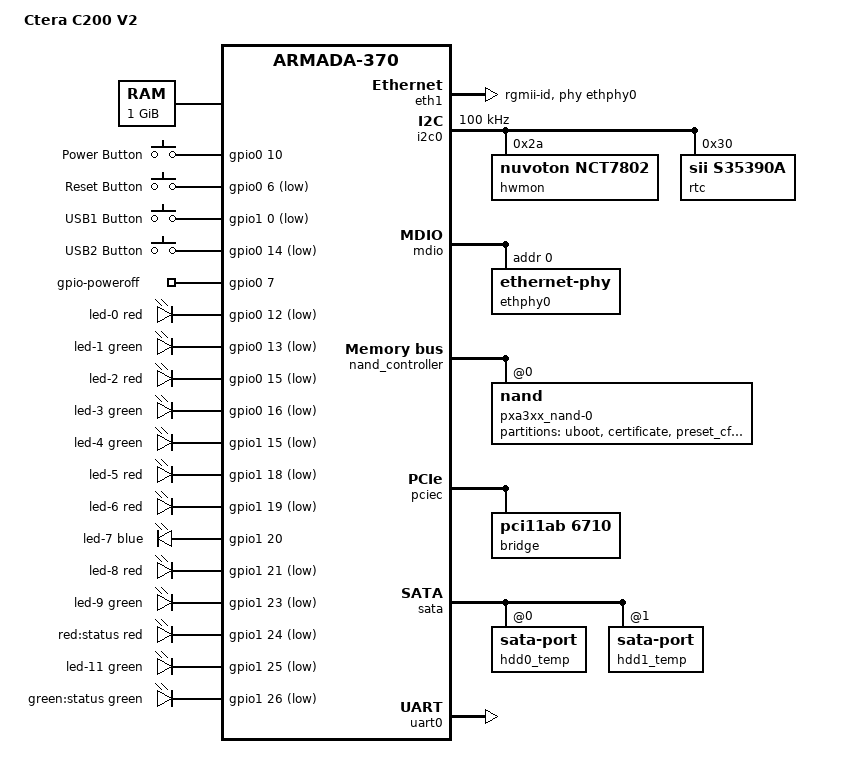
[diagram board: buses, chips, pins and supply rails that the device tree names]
// SPDX-License-Identifier: (GPL-2.0-or-later OR MIT)
/*
 * Device Tree file for Ctera C200-V2
 *
 * Copyright (C) 2021 Pawel Dembicki <paweldembicki@gmail.com>
 */

/dts-v1/;

#include "armada-370.dtsi"
#include <dt-bindings/gpio/gpio.h>
#include <dt-bindings/input/input.h>
#include <dt-bindings/thermal/thermal.h>
#include <dt-bindings/leds/common.h>

/ {
	model = "Ctera C200 V2";
	compatible = "ctera,c200-v2", "marvell,armada370", "marvell,armada-370-xp";

	aliases {
		led-boot = &led_status_green;
		led-failsafe = &led_status_red;
		led-running = &led_status_green;
		led-upgrade = &led_status_red;
	};

	chosen {
		bootargs = "console=ttyS0,115200";
		stdout-path = "serial0:115200n8";
	};

	memory {
		device_type = "memory";
		reg = <0x00000000 0x40000000>; /* 1024 MB */
	};

	soc {
		ranges = <MBUS_ID(0xf0, 0x01) 0 0xd0000000 0x100000
			  MBUS_ID(0x01, 0xe0) 0 0xfff00000 0x100000
			  MBUS_ID(0x09, 0x01) 0 0xf1100000 0x10000>;
	};

	thermal-zones {
		ethphy-thermal {
			polling-delay = <20000>;
			polling-delay-passive = <2000>;

			thermal-sensors = <&ethphy0>;

			trips {
				ethphy_alert1: trip1 {
					temperature = <65000>;
					hysteresis = <4000>;
					type = "passive";
				};

				ethphy_crit: trip2 {
					temperature = <100000>;
					hysteresis = <2000>;
					type = "critical";
				};
			};
		};
	};

	keys {
		compatible = "gpio-keys";
		pinctrl-0 = <&pmx_buttons>;
		pinctrl-names = "default";

		power {
			label = "Power Button";
			linux,code = <KEY_POWER>;
			gpios = <&gpio0 10 GPIO_ACTIVE_HIGH>;
		};

		reset {
			label = "Reset Button";
			linux,code = <KEY_RESTART>;
			gpios = <&gpio0 6 GPIO_ACTIVE_LOW>;
		};

		usb1 {
			label = "USB1 Button";
			linux,code = <BTN_0>;
			gpios = <&gpio1 0 GPIO_ACTIVE_LOW>;
		};

		usb2 {
			label = "USB2 Button";
			linux,code = <BTN_1>;
			gpios = <&gpio0 14 GPIO_ACTIVE_LOW>;
		};
	};

	gpio-poweroff {
		compatible = "gpio-poweroff";
		pinctrl-0 = <&pmx_poweroff>;
		pinctrl-names = "default";
		gpios = <&gpio0 7 GPIO_ACTIVE_HIGH>;
	};

	leds {
		compatible = "gpio-leds";
		pinctrl-0 = <&pmx_leds1 &pmx_leds2>;
		pinctrl-names = "default";

		led-0 {
			function = LED_FUNCTION_USB;
			function-enumerator = <2>;
			color = <LED_COLOR_ID_RED>;
			gpios = <&gpio0 12 GPIO_ACTIVE_LOW>;
		};

		led-1 {
			function = LED_FUNCTION_USB;
			function-enumerator = <2>;
			color = <LED_COLOR_ID_GREEN>;
			gpios = <&gpio0 13 GPIO_ACTIVE_LOW>;
			linux,default-trigger = "usbport";
			trigger-sources = <&usb1_port 1>, <&usb2_port 1>;
		};

		led-2 {
			function = LED_FUNCTION_USB;
			function-enumerator = <1>;
			color = <LED_COLOR_ID_RED>;
			gpios = <&gpio0 15 GPIO_ACTIVE_LOW>;
		};

		led-3 {
			function = LED_FUNCTION_USB;
			function-enumerator = <1>;
			color = <LED_COLOR_ID_GREEN>;
			gpios = <&gpio0 16 GPIO_ACTIVE_LOW>;
			linux,default-trigger = "usbport";
			trigger-sources = <&usb1_port 2>, <&usb2_port 2>;
		};

		led-4 {
			function = LED_FUNCTION_DISK;
			function-enumerator = <2>;
			color = <LED_COLOR_ID_GREEN>;
			gpios = <&gpio1 15 GPIO_ACTIVE_LOW>;
			linux,default-trigger = "ata2";
		};

		led-5 {
			function = LED_FUNCTION_DISK;
			function-enumerator = <1>;
			color = <LED_COLOR_ID_RED>;
			gpios = <&gpio1 18 GPIO_ACTIVE_LOW>;
		};

		led-6 {
			function = LED_FUNCTION_DISK;
			function-enumerator = <2>;
			color = <LED_COLOR_ID_RED>;
			gpios = <&gpio1 19 GPIO_ACTIVE_LOW>;
		};

		led-7 {
			function = LED_FUNCTION_INDICATOR;
			color = <LED_COLOR_ID_BLUE>;
			gpios = <&gpio1 20 GPIO_ACTIVE_HIGH>;
		};

		led-8 {
			function = LED_FUNCTION_DISK_ERR;
			color = <LED_COLOR_ID_RED>;
			gpios = <&gpio1 21 GPIO_ACTIVE_LOW>;
		};

		led-9 {
			function = LED_FUNCTION_DISK_ERR;
			color = <LED_COLOR_ID_GREEN>;
			gpios = <&gpio1 23 GPIO_ACTIVE_LOW>;
		};

		led_status_red: led-10 {
			label = "red:status";
			function = LED_FUNCTION_STATUS;
			color = <LED_COLOR_ID_RED>;
			gpios = <&gpio1 24 GPIO_ACTIVE_LOW>;
		};

		led-11 {
			function = LED_FUNCTION_DISK;
			function-enumerator = <1>;
			color = <LED_COLOR_ID_GREEN>;
			gpios = <&gpio1 25 GPIO_ACTIVE_LOW>;
			linux,default-trigger = "ata1";
		};

		led_status_green: led-12 {
			label = "green:status";
			function = LED_FUNCTION_STATUS;
			color = <LED_COLOR_ID_GREEN>;
			gpios = <&gpio1 26 GPIO_ACTIVE_LOW>;
		};
	};
};

&coherencyfab {
	broken-idle;
};

&eth1 {
	pinctrl-0 = <&ge1_rgmii_pins>;
	pinctrl-names = "default";
	status = "okay";
	phy-handle = <&ethphy0>;
	phy-connection-type = "rgmii-id";
};

&i2c0 {
	pinctrl-0 = <&i2c0_pins>;
	pinctrl-names = "default";
	clock-frequency = <100000>;
	status = "okay";

	hwmon@2a {
		compatible = "nuvoton,nct7802";
		reg = <0x2a>;
	};

	rtc@30 {
		compatible = "sii,s35390a";
		reg = <0x30>;
	};
};

&mdio {
	pinctrl-0 = <&mdio_pins>;
	pinctrl-names = "default";

	ethphy0: ethernet-phy@0 { /* Marvell 88E1318 */
		reg = <0>;
		#thermal-sensor-cells = <0>;
	};
};

&nand_controller {
	status = "okay";

	nand@0 {
		reg = <0>;
		label = "pxa3xx_nand-0";
		nand-rb = <0>;
		marvell,nand-keep-config;
		nand-on-flash-bbt;
		nand-ecc-strength = <4>;
		nand-ecc-step-size = <512>;

		partitions {
			compatible = "fixed-partitions";
			#address-cells = <1>;
			#size-cells = <1>;

			partition@0 {
				label = "uboot";
				reg = <0x0000000 0x200000>;
				read-only;
			};

			partition@200000 {
				label = "certificate";
				reg = <0x0200000 0x100000>;
				read-only;
			};

			partition@300000 {
				label = "preset_cfg";
				reg = <0x0300000 0x100000>;
				read-only;
			};

			partition@400000 {
				label = "dev_params";
				reg = <0x0400000 0x100000>;
				read-only;
			};
			partition@500000 {
				label = "active_bank";
				reg = <0x0500000 0x0100000>;
			};

			partition@600000 {
				label = "magic";
				reg = <0x0600000 0x0100000>;
				read-only;
			};

			partition@700000 {
				label = "bank1";
				reg = <0x0700000 0x2800000>;
			};

			partition@2f00000 {
				label = "bank2";
				reg = <0x2f00000 0x2800000>;
			};

			/* 0x5700000-0x5a00000 undefined in vendor firmware */

			partition@5a00000 {
				label = "reserved";
				reg = <0x5a00000 0x2000000>;
			};

			partition@7a00000 {
				label = "ubi";
				reg = <0x7a00000 0x8600000>;
			};
		};
	};
};

&pciec {
	status = "okay";

	pcie@1,0 {
		pinctrl-0 = <&pmx_pcie>;
		pinctrl-names = "default";
		status = "okay";
		reset-gpios = <&gpio1 27 GPIO_ACTIVE_LOW>;

		/* -[0000:00]---01.0-[01]----00.0 */
		/* usbport trigger won't work */
		bridge@0,1 {
			compatible = "pci11ab,6710";
			reg = <0x3800 0 0 0 0>;
			#address-cells = <3>;
			#size-cells = <2>;

			usb@1,0 {
				/* Renesas uPD720202 */
				compatible = "pci1912,0015";
				reg = <0x1000 0 0 0 0>;
				#address-cells = <3>;
				#size-cells = <2>;

				usb1_port: port@1 {
					reg = <1>;
					#trigger-source-cells = <1>;
				};

				usb2_port: port@2 {
					reg = <2>;
					#trigger-source-cells = <1>;
				};
			};
		};
	};
};

&pinctrl {
	pmx_poweroff: pmx-poweroff {
		marvell,pins = "mpp7";
		marvell,function = "gpo";
	};

	pmx_power_cpu: pmx-power-cpu {
		marvell,pins = "mpp4";
		marvell,function = "vdd";
	};

	pmx_buttons: pmx-buttons {
		marvell,pins = "mpp6", "mpp10", "mpp14", "mpp32";
		marvell,function = "gpio";
	};

	pmx_leds1: pmx-leds1 {
		marvell,pins = "mpp47";
		marvell,function = "gpo";
	};

	pmx_leds2: pmx-leds2 {
		marvell,pins = "mpp12", "mpp13", "mpp15", "mpp16", "mpp50", "mpp51",
			       "mpp52", "mpp53", "mpp55", "mpp56", "mpp57", "mpp58";
		marvell,function = "gpio";
	};

	pmx_pcie: pmx-pcie {
		marvell,pins = "mpp59";
		marvell,function = "gpio";
	};

	/* this gpio is connected to the pin of buzzer
	 * leave it as is due lack of proper driver
	 */
	pmx_buzzer: pmx-buzzer {
		marvell,pins = "mpp63";
		marvell,function = "gpio";
	};
};

&pmsu {
	pinctrl-0 = <&pmx_power_cpu>;
	pinctrl-names = "default";
};

&rtc {
	status = "disabled";
};

&sata {
	nr-ports = <2>;
	status = "okay";
	#address-cells = <1>;
	#size-cells = <0>;

	hdd0_temp: sata-port@0 {
		reg = <0>;
		#thermal-sensor-cells = <0>;
	};

	hdd1_temp: sata-port@1 {
		reg = <1>;
		#thermal-sensor-cells = <0>;
	};
};

&uart0 {
	status = "okay";
};
